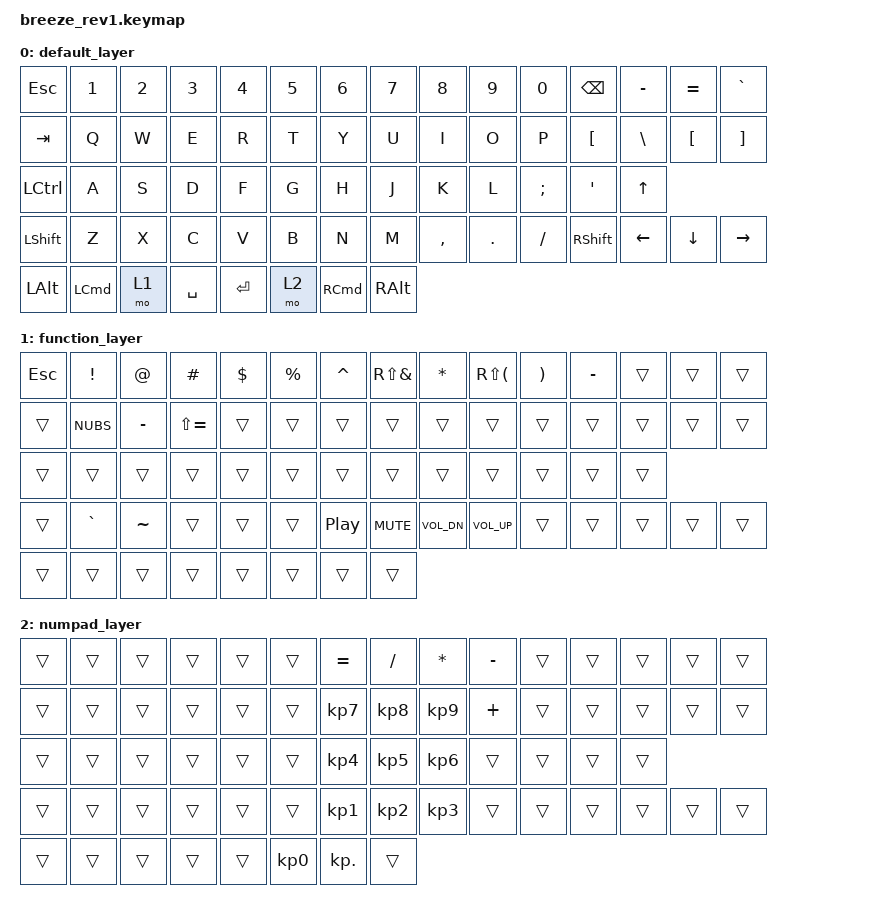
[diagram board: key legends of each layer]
/*
 * Copyright (c) 2022 The ZMK Contributors
 *
 * SPDX-License-Identifier: MIT
 */

#include <behaviors.dtsi>
#include <dt-bindings/zmk/keys.h>

/ {
    keymap {
        compatible = "zmk,keymap";

        default_layer {
            // Ref: https://zmkfirmware.dev/docs/codes/
            // ---  MAIN  -----------------------------------------------------------------------------------------------------------------------
            // |    ESC    |     1     |     2     |     3      |      4      |      5     |                           |      6      |      7     |      8      |      9     |     0    |    BSPC    | |    -/_    |     =/+     |    GRAVE    |
            // |    TAB    |     Q     |     W     |     E      |      R      |      T     |                           |      Y      |      U     |      I      |      O     |     P    |    DEL     | |     \     |      [      |      ]      |
            // |   LCTRL   |     A     |     S     |     D      |      F      |      G     |                           |      H      |      J     |      K      |      L     |     ;    |     '      | |           |      UP     |             |
            // |   SHIFT   |     Z     |     X     |     C      |      V      |      B     |                           |      N      |      M     |      ,      |      .     |     /    |   RSHIFT   | |     L     |      DN     |      R      |
            //                                     |   NUMPAD   |     LALT    |    LCMD    |   SPACE    |  |   ENTER   |   FUNCTION  |  MACOS APP |  MACOS LANG |

            bindings = <
&kp ESC       &kp N1            &kp N2  &kp N3     &kp N4   &kp N5  &kp N6             &kp N7         &kp N8     &kp N9   &kp N0    &kp BSPC          &kp MINUS  &kp EQUAL  &kp GRAVE
&kp TAB       &kp Q             &kp W   &kp E      &kp R    &kp T   &kp Y              &kp U          &kp I      &kp O    &kp P     &kp LEFT_BRACKET  &kp BSLH   &kp LBKT   &kp RBKT
&kp LCTRL     &kp A             &kp S   &kp D      &kp F    &kp G   &kp H              &kp J          &kp K      &kp L    &kp SEMI  &kp APOS          &kp UP
&kp LSHFT     &kp Z             &kp X   &kp C      &kp V    &kp B   &kp N              &kp M          &kp COMMA  &kp DOT  &kp FSLH  &kp RSHIFT        &kp LEFT   &kp DOWN   &kp RIGHT
&kp LEFT_ALT  &kp LEFT_COMMAND  &mo 1   &kp SPACE  &kp RET  &mo 2   &kp RIGHT_COMMAND  &kp RIGHT_ALT
            >;
        };

        function_layer {
            // ---  FUNCTION  -------------------------------------------------------------------------------------------------------------------
            // | BT Clear  |  BT Prev  |  BT Next  |            |             |            |                           |             |            |             |            |          |            | |           |             |             |
            // |           |           |           |            |             |            |                           |             |            |     UP      |            |          |            | |           |             |             |
            // |           |           |           |            |             |            |                           |             |    LEFT    |    DOWN     |   RIGHT    |          |            | |           |             |             |
            // |           |           |           |            |             |            |                           |             |    MUTE    |  VOL DOWN   |   VOL UP   |          |            | |           |             |             |
            //                                     |            |             |            |            |  |           |             |            |             |

            bindings = <
&kp ESCAPE  &kp EXCLAMATION  &kp AT_SIGN  &kp HASH       &kp DOLLAR  &kp PERCENT  &kp CARET         &kp RS(AMPS)  &kp ASTERISK  &kp RS(LEFT_PARENTHESIS)  &kp RIGHT_PARENTHESIS  &kp MINUS  &trans  &trans  &trans
&trans      &kp NUBS         &kp MINUS    &kp LS(EQUAL)  &trans      &trans       &trans            &trans        &trans        &trans                    &trans                 &trans     &trans  &trans  &trans
&trans      &trans           &trans       &trans         &trans      &trans       &trans            &trans        &trans        &trans                    &trans                 &trans     &trans
&trans      &kp GRAVE        &kp TILDE    &trans         &trans      &trans       &kp C_PLAY_PAUSE  &kp C_MUTE    &kp C_VOL_DN  &kp C_VOL_UP              &trans                 &trans     &trans  &trans  &trans
&trans      &trans           &trans       &trans         &trans      &trans       &trans            &trans
            >;
        };

        numpad_layer {
            // ---  NUMPAD  -------------------------------------------------------------------------------------------------------------------
            // |           |           |           |            |             |            |                           |       =       |      /       |      *       |      -     |          |            | |           |             |             |
            // |           |           |           |            |             |            |                           |       7       |      8       |      9       |      +     |          |            | |           |             |             |
            // |           |           |           |            |             |            |                           |       4       |      5       |      6       |            |          |            | |           |             |             |
            // |           |           |           |            |             |            |                           |       1       |      2       |      3       |            |          |            | |           |             |             |
            //                                     |            |             |            |            |  |           |       0       |      .       |              |

            bindings = <
&trans  &trans  &trans  &trans  &trans  &trans           &kp EQUAL        &kp SLASH        &kp STAR         &kp MINUS  &trans  &trans  &trans  &trans  &trans
&trans  &trans  &trans  &trans  &trans  &trans           &kp KP_NUMBER_7  &kp KP_NUMBER_8  &kp KP_NUMBER_9  &kp PLUS   &trans  &trans  &trans  &trans  &trans
&trans  &trans  &trans  &trans  &trans  &trans           &kp KP_NUMBER_4  &kp KP_NUMBER_5  &kp KP_NUMBER_6  &trans     &trans  &trans  &trans
&trans  &trans  &trans  &trans  &trans  &trans           &kp KP_NUMBER_1  &kp KP_NUMBER_2  &kp KP_NUMBER_3  &trans     &trans  &trans  &trans  &trans  &trans
&trans  &trans  &trans  &trans  &trans  &kp KP_NUMBER_0  &kp KP_DOT       &trans
            >;
        };
    };
};
